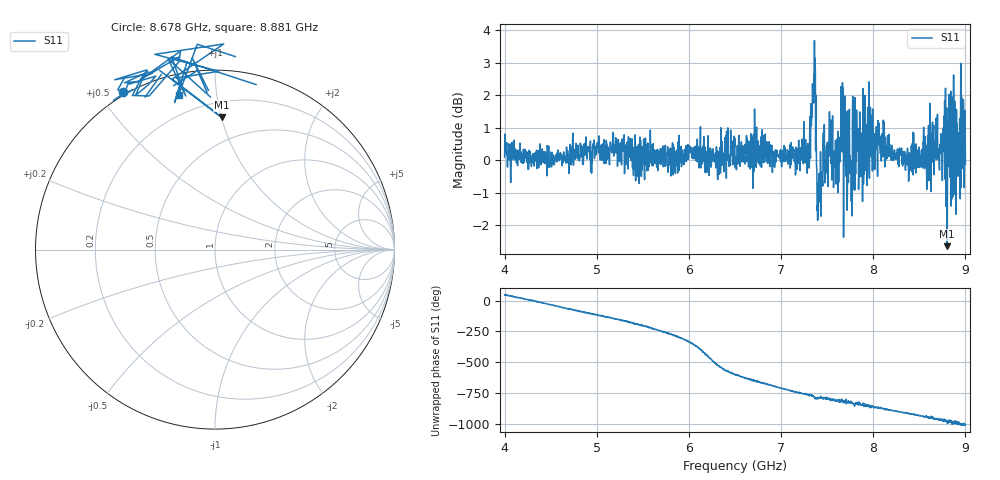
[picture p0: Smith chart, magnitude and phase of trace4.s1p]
! Created with skrf 1.8.0 (http://scikit-rf.org).
# Hz S RI R 50.0
!freq ReS11 ImS11
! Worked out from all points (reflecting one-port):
!   1601 points, 4 GHz to 9 GHz, reference 50 ohm
!   lowest |S11| = -2.6 dB at 8.803 GHz (marker M1), VSWR 6.64, Z = 15.5 + j50.1 ohm
!   phase of S11 starts at 47 deg and turns -1052 deg over the sweep
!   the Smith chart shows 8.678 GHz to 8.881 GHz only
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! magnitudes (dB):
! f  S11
! 4 GHz  0.1
! 4.625 GHz  -0.2
! 5.25 GHz  0.0
! 5.875 GHz  0.3
! 6.5 GHz  -0.1
! 7.125 GHz  0.4
! 7.294 GHz  0.4
! 7.347 GHz  2.3
! 7.366 GHz  2.0
! 7.409 GHz  -1.1
! 7.512 GHz  0.5
! 7.591 GHz  0.6
! 7.672 GHz  2.1
! 7.703 GHz  -0.5
! 7.75 GHz  -0.4
! 7.769 GHz  -0.5
! 7.8 GHz  -0.9
! 7.881 GHz  0.2
! 7.962 GHz  1.5
! 8.022 GHz  0.3
! 8.375 GHz  -0.1
! 8.603 GHz  -0.1
! 8.656 GHz  1.1
! 8.803 GHz  -2.6
! 8.834 GHz  1.7
! 8.919 GHz  -0.5
! 8.972 GHz  0.9
! 9 GHz  -0.1
